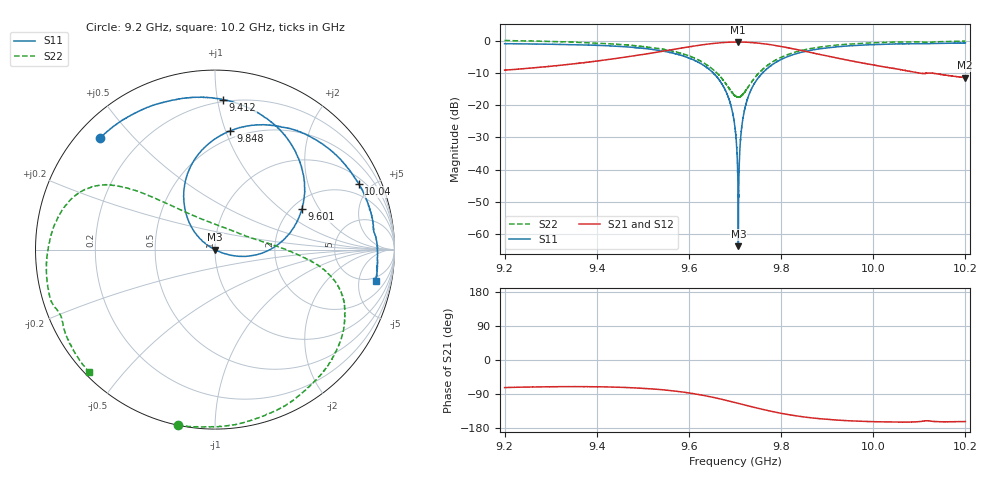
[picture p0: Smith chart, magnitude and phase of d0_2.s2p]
!Agilent Technologies,N5242A,MY51221714,A.09.90.19
!Agilent N5242A: A.09.90.19
!Date: Tuesday, March 26, 2024 16:06:46
!Correction: S11(Full 2 Port(1,2))
!S21(Full 2 Port(1,2))
!S12(Full 2 Port(1,2))
!S22(Full 2 Port(1,2))
!S2P File: Measurements: S11, S21, S12, S22:
# Hz S  dB  R 50
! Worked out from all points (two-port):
!   16001 points, 9.2 GHz to 10.2 GHz, reference 50 ohm
!   highest |S21| = -0.46 dB at 9.706 GHz (marker M1); lowest = -11.5 dB at 10.2 GHz (marker M2)
!   |S21| within 3 dB of the highest: 9.537164 GHz to 9.537311 GHz (146.2 kHz wide, 0.00153 % of centre); 9.537 GHz to 9.856 GHz (318.7 MHz wide, 3.29 % of centre)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
!   lowest |S11| = -63.7 dB at 9.707 GHz (marker M3), VSWR 1.00, Z = 50 - j0.0648 ohm
!   |S11| at or under -10 dB: 9.652353 GHz to 9.652495 GHz (142.1 kHz wide, 0.00147 % of centre); 9.653 GHz to 9.76 GHz (107.6 MHz wide, 1.11 % of centre)
!   |S22| runs from -17.6 to 0.0 dB; largest |S21 - S12| = 0.012
!   S11 on the Smith chart (normalised r, x): 9.2 GHz: 0.07, +0.41; 9.412 GHz: 0.19, +1.04; 9.601 GHz: 2.24, +1.42; 9.848 GHz: 0.44, +1.04; 10.04 GHz: 1.29, +4.21; 10.2 GHz: 3.89, -8.44
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9.2e9  -0.99 135.7  -9.17 -72.8  -9.16 -73.5  -0.00 -101.8
9.366688e9  -1.34 98.2  -6.95 -70.3  -6.94 -70.9  -0.63 -57.4
9.411562e9  -1.55 86.9  -6.14 -70.7  -6.13 -71.5  -0.89 -46.3
9.533375e9  -3.04 50.6  -3.55 -77.6  -3.53 -78.2  -2.45 -19.7
9.60075e9  -5.46 25.2  -1.94 -87.1  -1.94 -87.6  -4.78 -8.5
9.670625e9  -13.23 -8.4  -0.68 -103.5  -0.67 -104.0  -11.58 10.1
9.689625e9  -19.44 -17.9  -0.51 -109.0  -0.50 -109.6  -15.35 29.5
9.7e9  -26.97 -24.9  -0.47 -112.2  -0.46 -112.7  -17.05 50.6
9.703438e9  -32.64 -25.9  -0.47 -113.3  -0.45 -113.8  -17.42 59.7
9.70625e9  -43.85 -29.3  -0.46 -114.1  -0.46 -114.7  -17.55 66.9
9.70725e9  -63.69 -81.9  -0.46 -114.4  -0.45 -115.0  -17.55 69.8
9.7105e9  -33.82 152.7  -0.47 -115.4  -0.46 -116.0  -17.43 78.3
9.714375e9  -27.12 149.5  -0.49 -116.6  -0.47 -117.2  -17.07 88.3
9.719812e9  -22.14 146.5  -0.51 -118.3  -0.49 -118.9  -16.19 100.6
9.740812e9  -13.60 133.7  -0.68 -124.7  -0.66 -125.3  -11.91 126.9
9.783375e9  -7.25 111.5  -1.43 -136.6  -1.42 -137.2  -6.45 140.9
9.848125e9  -3.51 82.6  -3.21 -150.0  -3.20 -150.5  -2.94 149.5
9.866688e9  -2.97 75.6  -3.78 -152.8  -3.78 -153.3  -2.43 152.1
1.003338e10  -1.13 25.8  -8.40 -163.4  -8.39 -164.0  -0.54 -176.4
1.003856e10  -1.11 24.6  -8.52 -163.4  -8.52 -164.0  -0.52 -175.2
1.019975e10  -0.80 -11.1  -11.50 -162.4  -11.49 -163.0  -0.19 -135.7
1.02e10  -0.78 -11.2  -11.48 -162.5  -11.50 -163.0  -0.19 -135.6
